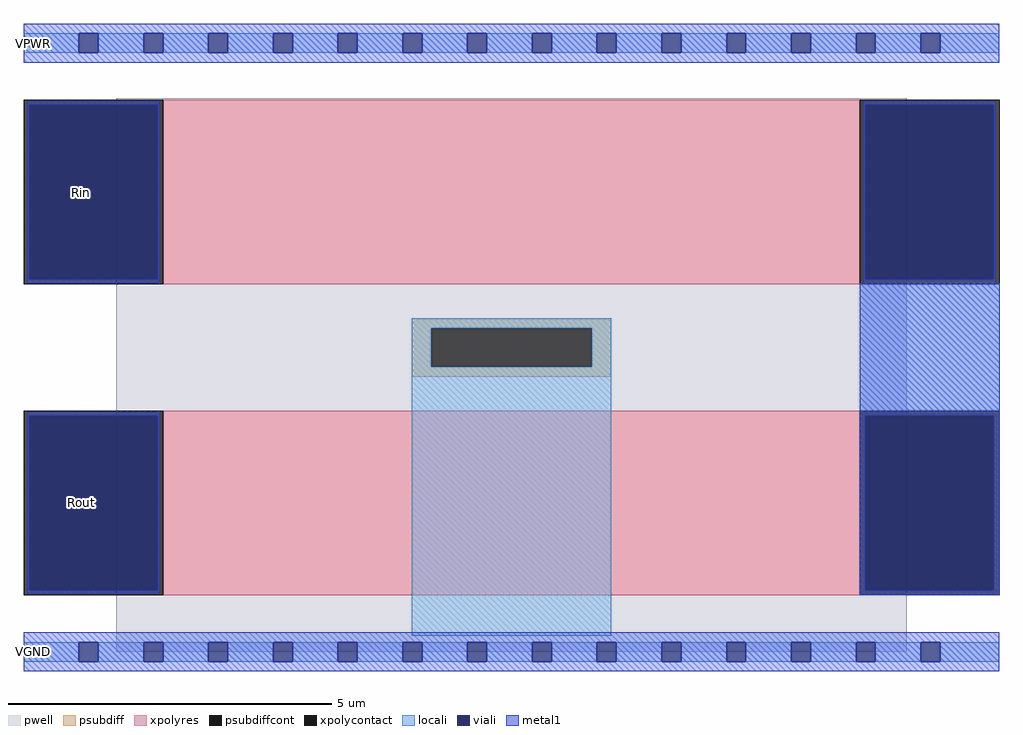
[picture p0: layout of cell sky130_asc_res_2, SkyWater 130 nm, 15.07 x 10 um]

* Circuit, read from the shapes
.subckt sky130_asc_res_2 Rin Rout VPWR VGND
XR1 n1 Rout VSUBS sky130_fd_pr__res_xhigh_po w=2.85 l=10.75
XR2 n1 Rin VSUBS sky130_fd_pr__res_xhigh_po w=2.85 l=10.75
.ends

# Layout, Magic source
magic
tech sky130A
magscale 1 2
<< pwell >>
rect 288 0 2728 1710
<< psubdiff >>
rect 1200 1000 1816 1030
rect 1200 880 1260 1000
rect 1756 880 1816 1000
rect 1200 850 1816 880
<< psubdiffcont >>
rect 1260 880 1756 1000
<< xpolycontact >>
rect 1 1135 433 1705
rect 2583 1135 3015 1705
rect 1 175 433 745
rect 2583 175 3015 745
<< xpolyres >>
rect 433 1135 2583 1705
rect 433 175 2583 745
<< locali >>
rect 2 1850 172 1910
rect 232 1850 372 1910
rect 432 1850 572 1910
rect 632 1850 772 1910
rect 832 1850 972 1910
rect 1032 1850 1172 1910
rect 1232 1850 1372 1910
rect 1432 1850 1572 1910
rect 1632 1850 1772 1910
rect 1832 1850 1972 1910
rect 2032 1850 2172 1910
rect 2232 1850 2372 1910
rect 2432 1850 2572 1910
rect 2632 1850 2772 1910
rect 2832 1850 3014 1910
rect 1200 1000 1816 1030
rect 1200 880 1260 1000
rect 1756 880 1816 1000
rect 1200 50 1816 880
rect 2583 745 3015 1135
rect 2 -30 172 30
rect 232 -30 372 30
rect 432 -30 572 30
rect 632 -30 772 30
rect 832 -30 972 30
rect 1032 -30 1172 30
rect 1232 -30 1372 30
rect 1432 -30 1572 30
rect 1632 -30 1772 30
rect 1832 -30 1972 30
rect 2032 -30 2172 30
rect 2232 -30 2372 30
rect 2432 -30 2572 30
rect 2632 -30 2772 30
rect 2832 -30 3014 30
<< viali >>
rect 172 1850 232 1910
rect 372 1850 432 1910
rect 572 1850 632 1910
rect 772 1850 832 1910
rect 972 1850 1032 1910
rect 1172 1850 1232 1910
rect 1372 1850 1432 1910
rect 1572 1850 1632 1910
rect 1772 1850 1832 1910
rect 1972 1850 2032 1910
rect 2172 1850 2232 1910
rect 2372 1850 2432 1910
rect 2572 1850 2632 1910
rect 2772 1850 2832 1910
rect 19 1151 416 1689
rect 2600 1151 2997 1689
rect 19 191 416 729
rect 2600 191 2997 729
rect 172 -30 232 30
rect 372 -30 432 30
rect 572 -30 632 30
rect 772 -30 832 30
rect 972 -30 1032 30
rect 1172 -30 1232 30
rect 1372 -30 1432 30
rect 1572 -30 1632 30
rect 1772 -30 1832 30
rect 1972 -30 2032 30
rect 2172 -30 2232 30
rect 2372 -30 2432 30
rect 2572 -30 2632 30
rect 2772 -30 2832 30
<< metal1 >>
rect 2 1910 3014 1940
rect 2 1850 172 1910
rect 232 1850 372 1910
rect 432 1850 572 1910
rect 632 1850 772 1910
rect 832 1850 972 1910
rect 1032 1850 1172 1910
rect 1232 1850 1372 1910
rect 1432 1850 1572 1910
rect 1632 1850 1772 1910
rect 1832 1850 1972 1910
rect 2032 1850 2172 1910
rect 2232 1850 2372 1910
rect 2432 1850 2572 1910
rect 2632 1850 2772 1910
rect 2832 1850 3014 1910
rect 2 1820 3014 1850
rect 12 1689 422 1701
rect 12 1151 19 1689
rect 416 1151 422 1689
rect 12 1139 422 1151
rect 2594 1689 3004 1701
rect 2594 1151 2600 1689
rect 2997 1151 3004 1689
rect 2594 1139 3004 1151
rect 12 729 422 741
rect 12 191 19 729
rect 416 191 422 729
rect 12 179 422 191
rect 2583 729 3015 1139
rect 2583 191 2600 729
rect 2997 191 3015 729
rect 2583 175 3015 191
rect 2 30 3014 60
rect 2 -30 172 30
rect 232 -30 372 30
rect 432 -30 572 30
rect 632 -30 772 30
rect 832 -30 972 30
rect 1032 -30 1172 30
rect 1232 -30 1372 30
rect 1432 -30 1572 30
rect 1632 -30 1772 30
rect 1832 -30 1972 30
rect 2032 -30 2172 30
rect 2232 -30 2372 30
rect 2432 -30 2572 30
rect 2632 -30 2772 30
rect 2832 -30 3014 30
rect 2 -60 3014 -30
<< labels >>
flabel metal1 121 1360 241 1480 1 FreeSans 480 0 0 0 Rin
port 1 n default bidirectional
flabel metal1 121 400 241 520 1 FreeSans 480 0 0 0 Rout
port 2 n default bidirectional
flabel metal1 2 1850 62 1910 1 FreeSans 800 0 0 0 VPWR
port 3 n power bidirectional
flabel metal1 2 -30 62 30 1 FreeSans 800 0 0 0 VGND
port 4 n ground bidirectional
<< properties >>
string FIXED_BBOX 0 0 3014 1880
string LEFclass CORE
string LEFsite unitasc
<< end >>
